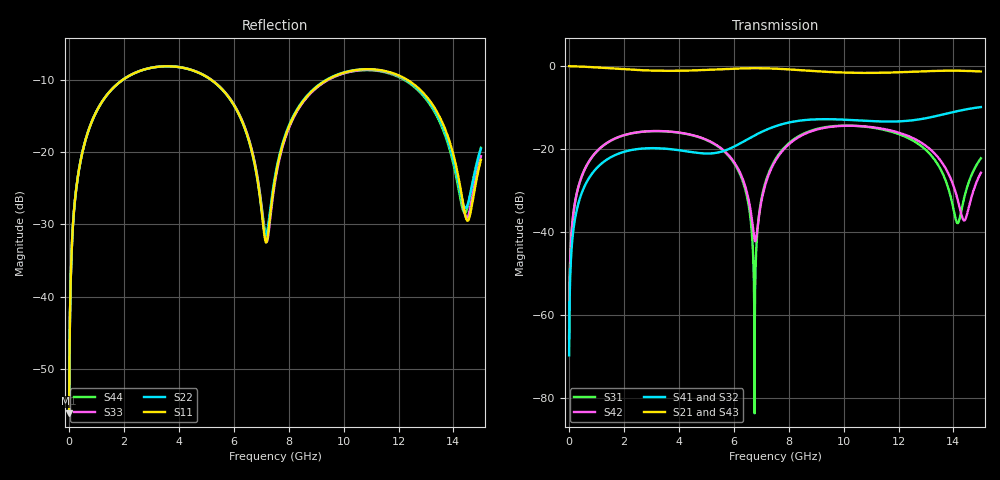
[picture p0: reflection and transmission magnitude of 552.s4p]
! Created with skrf 1.8.0 (http://scikit-rf.org).
# GHz S RI R 50.0
!freq ReS11 ImS11 ReS12 ImS12 ReS13 ImS13
! ReS14 ImS14
! ReS21 ImS21 ReS22 ImS22 ReS23 ImS23
! ReS24 ImS24
! ReS31 ImS31 ReS32 ImS32 ReS33 ImS33
! ReS34 ImS34
! ReS41 ImS41 ReS42 ImS42 ReS43 ImS43
! ReS44 ImS44
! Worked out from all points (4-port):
!   2499 points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, 5 MHz to 15 GHz, reference 50 ohm
!   strongest paths, dB at 5 MHz, 3.476 GHz, 7.19 GHz, 11.1 GHz, 15 GHz:
!     S21: 0.0, -1.1, -0.5, -1.6, -1.3
!     S43: 0.0, -1.1, -0.5, -1.6, -1.3
!     S41: -69.8, -19.9, -15.3, -13.3, -9.9
!     S32: -69.8, -19.9, -15.4, -13.3, -9.9
!     S42: -65.7, -15.7, -27.8, -14.8, -25.7
!     S31: -65.7, -15.7, -27.3, -14.9, -22.2
!   lowest |S11| = -56.1 dB at 5 MHz (marker M1), VSWR 1.00, Z = 50.1 + j0.095 ohm
!   |S11| at or under -10 dB: start of sweep to 1.974 GHz; 5.162 GHz to 9.415 GHz (4.253 GHz wide, 58.4 % of centre); 12.3 GHz to end of sweep
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0.005  0.00125 0.000947  0.9987 -0.00244  6.23e-05 0.000513  -6.04e-05 -0.000318
       0.9987 -0.00244  0.00125 0.000947  -6.04e-05 -0.000318  6.23e-05 0.000513
       6.23e-05 0.000513  -6.04e-05 -0.000318  0.00125 0.000947  0.9987 -0.00244
       -6.04e-05 -0.000318  6.23e-05 0.000513  0.9987 -0.00244  0.00125 0.000947
0.4126719  0.0232 0.0817  0.968 -0.1991  0.0113 0.0402  -0.00934 -0.0246
           0.968 -0.1991  0.0232 0.0817  -0.00934 -0.0246  0.0113 0.0402
           0.0113 0.0402  -0.00934 -0.0246  0.0232 0.0817  0.968 -0.1991
           -0.00934 -0.0246  0.0113 0.0402  0.968 -0.1991  0.0232 0.0817
2.025844  0.2666 0.179  0.5546 -0.7277  0.1318 0.0657  -0.0926 -0.00668
          0.5546 -0.7277  0.2664 0.179  -0.0926 -0.00678  0.1326 0.0647
          0.1318 0.0657  -0.0926 -0.00678  0.2667 0.179  0.5546 -0.7277
          -0.0926 -0.00668  0.1326 0.0647  0.5546 -0.7277  0.2665 0.1791
5.78366  0.1621 -0.181  -0.6968 -0.6095  0.0437 -0.0723  -0.0439 0.0884
         -0.6968 -0.6095  0.163 -0.1794  -0.0448 0.0876  0.0384 -0.0772
         0.0437 -0.0723  -0.0448 0.0876  0.1632 -0.1825  -0.6962 -0.6095
         -0.0439 0.0884  0.0384 -0.0772  -0.6962 -0.6095  0.1644 -0.1804
6.759066  0.037 -0.0743  -0.91 -0.2529  -2.06e-05 6.12e-05  -0.0337 0.1418
          -0.91 -0.2529  0.0391 -0.0724  -0.0353 0.1413  -0.00763 -0.00254
          -2.06e-05 6.12e-05  -0.0353 0.1413  0.0376 -0.0769  -0.9096 -0.2536
          -0.0337 0.1418  -0.00763 -0.00254  -0.9096 -0.2536  0.0401 -0.0749
7.196749  0.0238 0.00223  -0.9386 -0.061  0.00988 0.0427  -0.00517 0.1711
          -0.9386 -0.061  0.0268 0.00389  -0.00706 0.171  0.00203 0.0415
          0.00988 0.0427  -0.00706 0.171  0.0239 -0.000814  -0.9385 -0.062
          -0.00517 0.1711  0.00203 0.0415  -0.9385 -0.062  0.0271 0.000728
15  0.05 0.0726  0.8569 -0.087  0.0646 0.0426  -0.0507 -0.3166
    0.8569 -0.087  0.0643 0.0835  -0.0434 -0.3174  0.0291 0.0428
    0.0646 0.0426  -0.0434 -0.3174  0.0538 0.0762  0.8561 -0.0912
    -0.0507 -0.3166  0.0291 0.0428  0.8561 -0.0912  0.0617 0.0873
